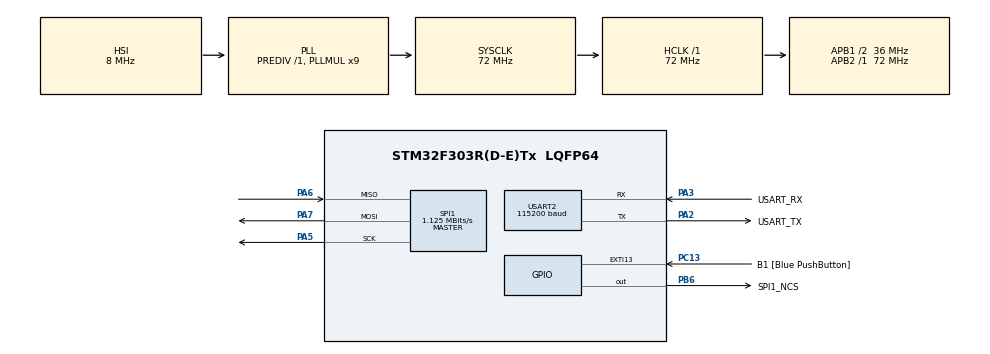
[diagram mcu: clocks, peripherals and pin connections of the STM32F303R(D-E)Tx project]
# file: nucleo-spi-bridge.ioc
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Mcu.Family=STM32F3
Mcu.Name=STM32F303R(D-E)Tx
Mcu.Package=LQFP64
NVIC.PriorityGroup=NVIC_PRIORITYGROUP_0
PA13.GPIO_Label=TMS
PA13.Mode=Serial_Wire
PA13.Signal=SYS_JTMS-SWDIO
PA14.GPIO_Label=TCK
PA14.Mode=Serial_Wire
PA14.Signal=SYS_JTCK-SWCLK
PA2.GPIO_Label=USART_TX
PA2.GPIO_Mode=GPIO_MODE_AF_PP
PA2.GPIO_PuPd=GPIO_NOPULL
PA2.GPIO_Speed=GPIO_SPEED_FREQ_LOW
PA2.Mode=Asynchronous
PA2.Signal=USART2_TX
PA3.GPIO_Label=USART_RX
PA3.GPIO_Mode=GPIO_MODE_AF_PP
PA3.GPIO_PuPd=GPIO_NOPULL
PA3.GPIO_Speed=GPIO_SPEED_FREQ_LOW
PA3.Mode=Asynchronous
PA3.Signal=USART2_RX
PA5.Mode=Full_Duplex_Master
PA5.Signal=SPI1_SCK
PA6.Mode=Full_Duplex_Master
PA6.Signal=SPI1_MISO
PA7.Mode=Full_Duplex_Master
PA7.Signal=SPI1_MOSI
PB3.GPIO_Label=SWO
PB3.Signal=SYS_JTDO-TRACESWO
PB6.GPIO_Label=SPI1_NCS
PB6.GPIO_Speed=GPIO_SPEED_FREQ_HIGH
PB6.PinState=GPIO_PIN_SET
PB6.Signal=GPIO_Output
PC13.GPIO_Label=B1 [Blue PushButton]
PC13.GPIO_ModeDefaultEXTI=GPIO_MODE_IT_FALLING
PC13.Signal=GPXTI13
PC14-OSC32_IN.Mode=LSE-External-Oscillator
PC14-OSC32_IN.Signal=RCC_OSC32_IN
PC15-OSC32_OUT.Mode=LSE-External-Oscillator
PC15-OSC32_OUT.Signal=RCC_OSC32_OUT
PF0-OSC_IN.Mode=HSE-External-Clock-Source
PF0-OSC_IN.Signal=RCC_OSC_IN
PF1-OSC_OUT.Signal=RCC_OSC_OUT
ProjectManager.HeapSize=0x200
ProjectManager.StackSize=0x400
ProjectManager.TargetToolchain=STM32CubeIDE
RCC.AHBFreq_Value=72000000
RCC.APB1CLKDivider=RCC_HCLK_DIV2
RCC.APB1Freq_Value=36000000
RCC.APB1TimFreq_Value=72000000
RCC.APB2Freq_Value=72000000
RCC.APB2TimFreq_Value=72000000
RCC.CortexFreq_Value=72000000
RCC.HCLKFreq_Value=72000000
RCC.HSE_VALUE=8000000
RCC.HSI_VALUE=8000000
RCC.PLLM=8
RCC.PLLMUL=RCC_PLL_MUL9
RCC.PLLN=336
RCC.PLLP=RCC_PLLP_DIV4
RCC.PLLQ=7
RCC.RCC_PLLsource_Clock_Source_FROM_HSE=RCC_HSE_PREDIV_DIV2
RCC.SYSCLKFreq_VALUE=72000000
RCC.SYSCLKSourceVirtual=RCC_SYSCLKSOURCE_PLLCLK
RCC.USBFreq_Value=72000000
SPI1.BaudRatePrescaler=SPI_BAUDRATEPRESCALER_64
SPI1.CLKPhase=SPI_PHASE_2EDGE
SPI1.CRCCalculation=SPI_CRCCALCULATION_DISABLE
SPI1.CalculateBaudRate=1.125 MBits/s
SPI1.DataSize=SPI_DATASIZE_8BIT
SPI1.Direction=SPI_DIRECTION_2LINES
SPI1.Mode=SPI_MODE_MASTER
SPI1.VirtualType=VM_MASTER
USART2.BaudRate=115200
USART2.VirtualMode-Asynchronous=VM_ASYNC
board=NUCLEO-F303RE

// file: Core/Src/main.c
/* USER CODE BEGIN Header */
/**
  ******************************************************************************
  * @file           : main.c
  * @brief          : Main program body
  ******************************************************************************
  * @attention
  *
  * Copyright (c) 2025 STMicroelectronics.
  * All rights reserved.
  *
  * This software is licensed under terms that can be found in the LICENSE file
  * in the root directory of this software component.
  * If no LICENSE file comes with this software, it is provided AS-IS.
  *
  ******************************************************************************
  */
/* USER CODE END Header */
#include "main.h"
#include <stdio.h>

SPI_HandleTypeDef hspi1;

UART_HandleTypeDef huart2;

void SystemClock_Config(void);
static void MX_GPIO_Init(void);
static void MX_USART2_UART_Init(void);
static void MX_SPI1_Init(void);

int main(void)
{

  /* MCU Configuration--------------------------------------------------------*/

  /* Reset of all peripherals, Initializes the Flash interface and the Systick. */
  HAL_Init();

  /* Configure the system clock */
  SystemClock_Config();

  /* Initialize all configured peripherals */
  MX_GPIO_Init();
  MX_USART2_UART_Init();
  MX_SPI1_Init();

  /* Infinite loop */
  /* USER CODE BEGIN WHILE */
  while (1)
  {
	  // Buffer for the SPI message.
	  uint8_t bytes[6] = {0};
	  // Buffer for the UART message towards the PC.
	  char msg[23] = {0};
	  // Buffer for the UART message towards the MCU.
	  // This is used as a sample trigger:
	  // Every time a character is received, a new measurement is performed.
	  uint8_t serial_response[2] = {0};
	  // HAL status for error checking.
	  // Only SPI is checked, as there is no good way to report that UART is not working.
	  HAL_StatusTypeDef status = HAL_OK;

	  // Trigger a new encoder measurement.
	  HAL_GPIO_WritePin(GPIOB, GPIO_PIN_6, GPIO_PIN_RESET);
	  // Small delay, to respect t_s.
	  HAL_Delay(1);

	  // Receive the measurement.
	  // We are receiving all 6 bytes, containing the multiturn counter,
	  // encoder position, error and warning bits, and the inverted CRC.
	  status = HAL_SPI_Receive(&hspi1, bytes, 6, HAL_MAX_DELAY);
	  if (HAL_OK != status)
	  {
		  // Reading from SPI failed.
		  // Disable the encoder.
		  HAL_GPIO_WritePin(GPIOB, GPIO_PIN_6, GPIO_PIN_SET);
		  // Transmit an error.
		  snprintf(msg, 23, "err SPI recv: %4d\r\n", status);
		  HAL_UART_Transmit(&huart2, (uint8_t *)msg, 20, HAL_MAX_DELAY);
		  // Back off for a while and continue looping.
		  HAL_Delay(100);
		  continue;
	  }

	  // Disable the encoder.
	  HAL_GPIO_WritePin(GPIOB, GPIO_PIN_6, GPIO_PIN_SET);

	  // Send the measurement over UART.
	  snprintf(msg, 23, "ok %02x %02x %02x %02x %02x %02x\r\n",
			   bytes[0], bytes[1], bytes[2], bytes[3], bytes[4], bytes[5]);
	  HAL_UART_Transmit(&huart2, (uint8_t *)msg, 22, HAL_MAX_DELAY);

	  // Wait for a new measurement signal, or time out after one second.
	  HAL_UART_Receive(&huart2, serial_response, 1, 1000);

	  // Small delay, to respect t_p.
	  HAL_Delay(1);
    /* USER CODE END WHILE */

  }
}

void SystemClock_Config(void)
{
  RCC_OscInitTypeDef RCC_OscInitStruct = {0};
  RCC_ClkInitTypeDef RCC_ClkInitStruct = {0};
  RCC_PeriphCLKInitTypeDef PeriphClkInit = {0};

  /** Initializes the RCC Oscillators according to the specified parameters
  * in the RCC_OscInitTypeDef structure.
  */
  RCC_OscInitStruct.OscillatorType = RCC_OSCILLATORTYPE_HSI;
  RCC_OscInitStruct.HSIState = RCC_HSI_ON;
  RCC_OscInitStruct.HSICalibrationValue = RCC_HSICALIBRATION_DEFAULT;
  RCC_OscInitStruct.PLL.PLLState = RCC_PLL_ON;
  RCC_OscInitStruct.PLL.PLLSource = RCC_PLLSOURCE_HSI;
  RCC_OscInitStruct.PLL.PLLMUL = RCC_PLL_MUL9;
  RCC_OscInitStruct.PLL.PREDIV = RCC_PREDIV_DIV1;
  if (HAL_RCC_OscConfig(&RCC_OscInitStruct) != HAL_OK)
  {
    Error_Handler();
  }

  /** Initializes the CPU, AHB and APB buses clocks
  */
  RCC_ClkInitStruct.ClockType = RCC_CLOCKTYPE_HCLK|RCC_CLOCKTYPE_SYSCLK
                              |RCC_CLOCKTYPE_PCLK1|RCC_CLOCKTYPE_PCLK2;
  RCC_ClkInitStruct.SYSCLKSource = RCC_SYSCLKSOURCE_PLLCLK;
  RCC_ClkInitStruct.AHBCLKDivider = RCC_SYSCLK_DIV1;
  RCC_ClkInitStruct.APB1CLKDivider = RCC_HCLK_DIV2;
  RCC_ClkInitStruct.APB2CLKDivider = RCC_HCLK_DIV1;

  if (HAL_RCC_ClockConfig(&RCC_ClkInitStruct, FLASH_LATENCY_2) != HAL_OK)
  {
    Error_Handler();
  }
  PeriphClkInit.PeriphClockSelection = RCC_PERIPHCLK_USART2;
  PeriphClkInit.Usart2ClockSelection = RCC_USART2CLKSOURCE_PCLK1;
  if (HAL_RCCEx_PeriphCLKConfig(&PeriphClkInit) != HAL_OK)
  {
    Error_Handler();
  }
}

static void MX_SPI1_Init(void)
{

  /* SPI1 parameter configuration*/
  hspi1.Instance = SPI1;
  hspi1.Init.Mode = SPI_MODE_MASTER;
  hspi1.Init.Direction = SPI_DIRECTION_2LINES;
  hspi1.Init.DataSize = SPI_DATASIZE_8BIT;
  hspi1.Init.CLKPolarity = SPI_POLARITY_LOW;
  hspi1.Init.CLKPhase = SPI_PHASE_2EDGE;
  hspi1.Init.NSS = SPI_NSS_SOFT;
  hspi1.Init.BaudRatePrescaler = SPI_BAUDRATEPRESCALER_64;
  hspi1.Init.FirstBit = SPI_FIRSTBIT_MSB;
  hspi1.Init.TIMode = SPI_TIMODE_DISABLE;
  hspi1.Init.CRCCalculation = SPI_CRCCALCULATION_DISABLE;
  hspi1.Init.CRCPolynomial = 7;
  hspi1.Init.CRCLength = SPI_CRC_LENGTH_DATASIZE;
  hspi1.Init.NSSPMode = SPI_NSS_PULSE_DISABLE;
  if (HAL_SPI_Init(&hspi1) != HAL_OK)
  {
    Error_Handler();
  }

}

static void MX_USART2_UART_Init(void)
{

  huart2.Instance = USART2;
  huart2.Init.BaudRate = 115200;
  huart2.Init.WordLength = UART_WORDLENGTH_8B;
  huart2.Init.StopBits = UART_STOPBITS_1;
  huart2.Init.Parity = UART_PARITY_NONE;
  huart2.Init.Mode = UART_MODE_TX_RX;
  huart2.Init.HwFlowCtl = UART_HWCONTROL_NONE;
  huart2.Init.OverSampling = UART_OVERSAMPLING_16;
  huart2.Init.OneBitSampling = UART_ONE_BIT_SAMPLE_DISABLE;
  huart2.AdvancedInit.AdvFeatureInit = UART_ADVFEATURE_NO_INIT;
  if (HAL_UART_Init(&huart2) != HAL_OK)
  {
    Error_Handler();
  }

}

static void MX_GPIO_Init(void)
{
  GPIO_InitTypeDef GPIO_InitStruct = {0};

  /* GPIO Ports Clock Enable */
  __HAL_RCC_GPIOC_CLK_ENABLE();
  __HAL_RCC_GPIOF_CLK_ENABLE();
  __HAL_RCC_GPIOA_CLK_ENABLE();
  __HAL_RCC_GPIOB_CLK_ENABLE();

  /*Configure GPIO pin Output Level */
  HAL_GPIO_WritePin(SPI1_NCS_GPIO_Port, SPI1_NCS_Pin, GPIO_PIN_SET);

  /*Configure GPIO pin : B1_Pin */
  GPIO_InitStruct.Pin = B1_Pin;
  GPIO_InitStruct.Mode = GPIO_MODE_IT_FALLING;
  GPIO_InitStruct.Pull = GPIO_NOPULL;
  HAL_GPIO_Init(B1_GPIO_Port, &GPIO_InitStruct);

  /*Configure GPIO pin : SPI1_NCS_Pin */
  GPIO_InitStruct.Pin = SPI1_NCS_Pin;
  GPIO_InitStruct.Mode = GPIO_MODE_OUTPUT_PP;
  GPIO_InitStruct.Pull = GPIO_NOPULL;
  GPIO_InitStruct.Speed = GPIO_SPEED_FREQ_HIGH;
  HAL_GPIO_Init(SPI1_NCS_GPIO_Port, &GPIO_InitStruct);

}

void Error_Handler(void)
{
  __disable_irq();
  while (1)
  {
  }
}
